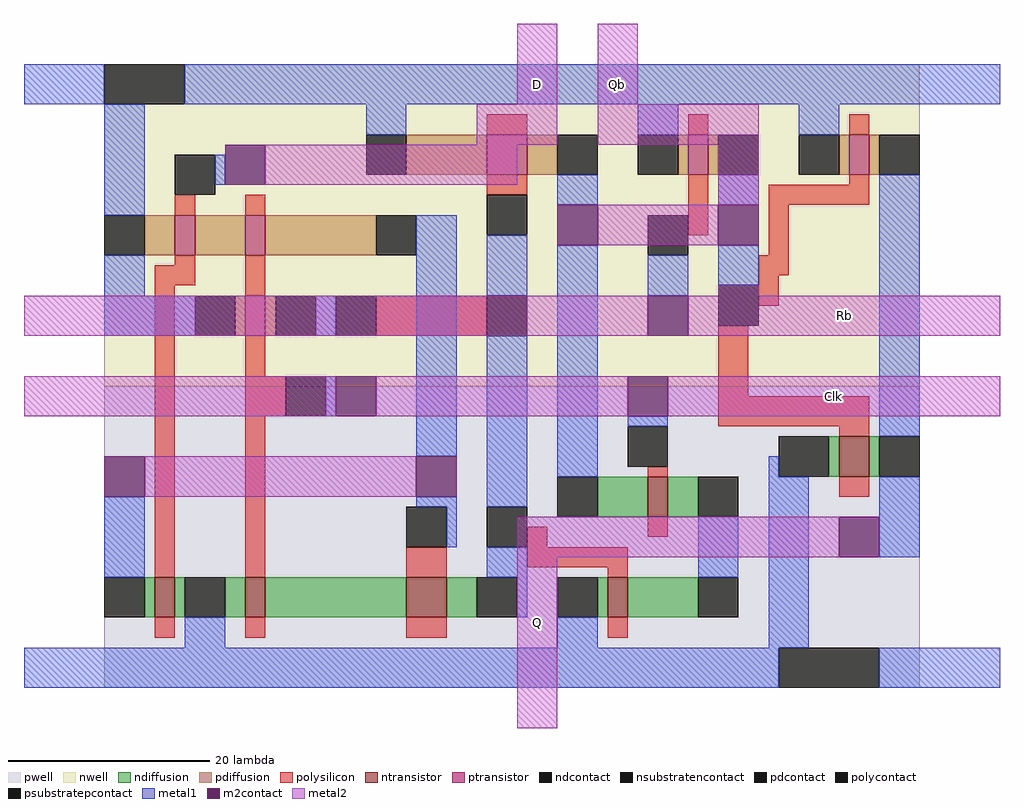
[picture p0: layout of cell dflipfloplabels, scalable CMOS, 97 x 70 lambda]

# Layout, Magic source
magic
tech scmos
<< pwell >>
rect -12 -58 69 -28
<< nwell >>
rect -12 -28 69 4
<< polysilicon >>
rect 26 -3 30 -1
rect 46 -3 48 -1
rect 62 -3 64 -1
rect 26 -9 30 -7
rect -5 -11 -3 -9
rect 2 -11 4 -9
rect 46 -13 48 -7
rect 62 -8 64 -7
rect 54 -10 64 -8
rect 54 -15 56 -10
rect -5 -16 -3 -15
rect -7 -18 -3 -16
rect -7 -47 -5 -18
rect 2 -19 4 -15
rect 53 -17 56 -15
rect 15 -23 26 -19
rect 53 -20 55 -17
rect 2 -27 4 -23
rect 2 -31 6 -27
rect 49 -29 52 -22
rect 2 -47 4 -31
rect 49 -32 64 -29
rect 61 -33 64 -32
rect 42 -37 44 -36
rect 61 -39 64 -37
rect 30 -44 32 -42
rect 42 -43 44 -41
rect 18 -47 22 -44
rect 30 -46 40 -44
rect 38 -47 40 -46
rect -7 -53 -5 -51
rect 2 -53 4 -51
rect 18 -53 22 -51
rect 38 -53 40 -51
<< ndiffusion >>
rect 60 -37 61 -33
rect 64 -37 65 -33
rect 37 -41 42 -37
rect 44 -41 47 -37
rect -8 -51 -7 -47
rect -5 -51 -4 -47
rect 0 -51 2 -47
rect 4 -51 18 -47
rect 22 -51 25 -47
rect 37 -51 38 -47
rect 40 -51 47 -47
<< pdiffusion >>
rect 18 -7 26 -3
rect 30 -7 33 -3
rect 45 -7 46 -3
rect 48 -7 49 -3
rect 61 -7 62 -3
rect 64 -7 65 -3
rect -8 -15 -5 -11
rect -3 -15 2 -11
rect 4 -15 15 -11
rect 1 -23 2 -19
rect 4 -23 5 -19
<< metal1 >>
rect -20 0 -12 4
rect -4 0 77 4
rect -12 -11 -8 0
rect 14 -3 18 0
rect 41 -3 45 0
rect 57 -3 61 0
rect -1 -8 0 -5
rect -12 -19 -8 -15
rect -12 -23 -3 -19
rect 9 -23 11 -19
rect 10 -31 11 -27
rect 19 -35 23 -11
rect -12 -47 -8 -39
rect 19 -40 23 -39
rect 22 -44 23 -40
rect 26 -19 30 -13
rect 26 -40 30 -23
rect 33 -10 37 -7
rect 49 -10 53 -7
rect 33 -37 37 -14
rect 42 -19 46 -15
rect 49 -18 53 -14
rect 40 -32 44 -31
rect 65 -33 69 -7
rect 54 -37 55 -35
rect 26 -47 30 -44
rect 47 -47 51 -41
rect 29 -51 30 -47
rect -4 -54 0 -51
rect 33 -54 37 -51
rect 54 -54 58 -37
rect 65 -45 69 -37
rect -20 -58 55 -54
rect 65 -58 77 -54
<< metal2 >>
rect 29 0 33 8
rect 25 -4 33 0
rect 37 0 41 8
rect 37 -4 53 0
rect 4 -8 29 -4
rect 49 -10 53 -4
rect 37 -14 49 -10
rect 49 -19 53 -18
rect -20 -23 42 -19
rect 46 -23 77 -19
rect -20 -31 11 -27
rect 15 -31 40 -27
rect 44 -31 77 -27
rect -8 -39 19 -35
rect 29 -45 61 -41
rect 29 -62 33 -45
<< ntransistor >>
rect 61 -37 64 -33
rect 42 -41 44 -37
rect -7 -51 -5 -47
rect 2 -51 4 -47
rect 18 -51 22 -47
rect 38 -51 40 -47
<< ptransistor >>
rect 26 -7 30 -3
rect 46 -7 48 -3
rect 62 -7 64 -3
rect -5 -15 -3 -11
rect 2 -15 4 -11
rect 2 -23 4 -19
<< polycontact >>
rect -5 -9 -1 -5
rect 26 -13 30 -9
rect 42 -15 46 -11
rect 11 -23 15 -19
rect 26 -23 30 -19
rect 49 -22 53 -18
rect 6 -31 10 -27
rect 40 -36 44 -32
rect 18 -44 22 -40
rect 26 -44 30 -40
<< ndcontact >>
rect 55 -37 60 -33
rect 65 -37 69 -33
rect 33 -41 37 -37
rect 47 -41 51 -37
rect -12 -51 -8 -47
rect -4 -51 0 -47
rect 25 -51 29 -47
rect 33 -51 37 -47
rect 47 -51 51 -47
<< pdcontact >>
rect 14 -7 18 -3
rect 33 -7 37 -3
rect 41 -7 45 -3
rect 49 -7 53 -3
rect 57 -7 61 -3
rect 65 -7 69 -3
rect -12 -15 -8 -11
rect 15 -15 19 -11
rect -3 -23 1 -19
rect 5 -23 9 -19
<< m2contact >>
rect 0 -8 4 -4
rect 11 -31 15 -27
rect -12 -39 -8 -35
rect 19 -39 23 -35
rect 33 -14 37 -10
rect 42 -23 46 -19
rect 49 -14 53 -10
rect 40 -31 44 -27
rect 61 -45 65 -41
<< psubstratepcontact >>
rect 55 -58 65 -54
<< nsubstratencontact >>
rect -12 0 -4 4
<< labels >>
rlabel metal2 29 -4 33 8 1 D
rlabel metal2 29 -62 33 -41 5 Q
rlabel metal2 46 -23 77 -19 3 Rb
rlabel metal2 44 -31 77 -27 3 Clk
rlabel metal2 37 -4 41 8 1 Qb
<< end >>
